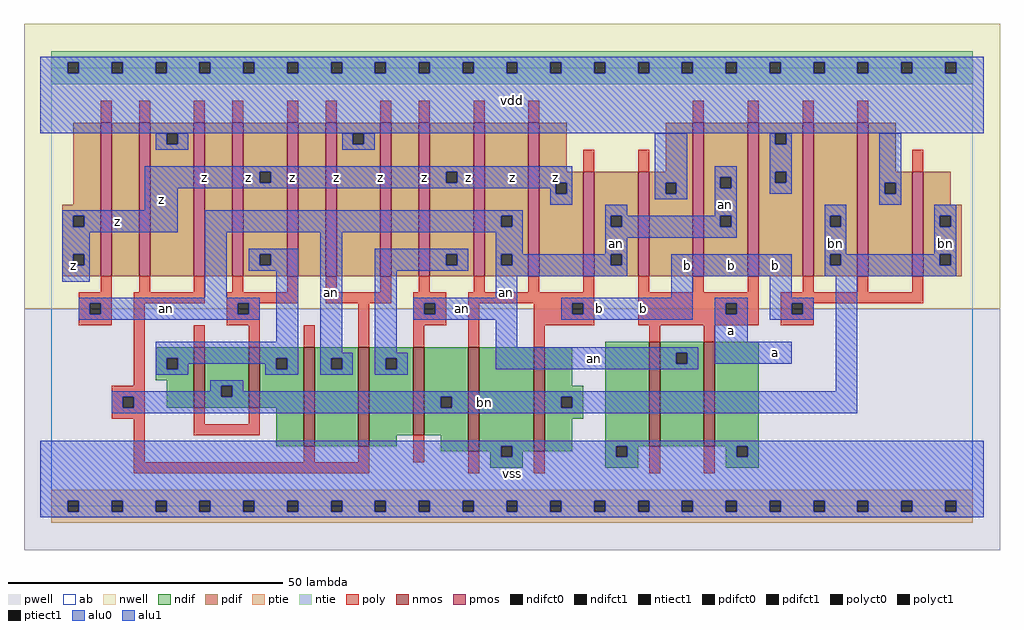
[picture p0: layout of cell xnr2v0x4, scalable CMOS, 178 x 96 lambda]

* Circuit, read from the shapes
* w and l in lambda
.subckt xnr2v0x4 a an b bn vdd vss z
M1 bn an z vss nfet w=11 l=2 m=2
M2 an bn z vss nfet w=18 l=2 m=2
M3 bn an z vss nfet w=16 l=2
M4 vss b bn vss nfet w=19 l=2 m=2
M5 an a vss vss nfet w=19 l=2 m=2
M6 n1 an z vdd pfet w=28 l=2
M7 vdd bn n1 vdd pfet w=28 l=2
M8 n2 bn vdd vdd pfet w=28 l=2
M9 z an n2 vdd pfet w=28 l=2
M10 n3 an z vdd pfet w=28 l=2
M11 vdd bn n3 vdd pfet w=28 l=2
M12 n4 bn vdd vdd pfet w=28 l=2
M13 z an n4 vdd pfet w=28 l=2
M14 an b z vdd pfet w=28 l=2 m=2
M15 an b z vdd pfet w=19 l=2
M16 vdd a an vdd pfet w=19 l=2
M17 an a vdd vdd pfet w=28 l=2 m=2
M18 bn b vdd vdd pfet w=28 l=2 m=2
M19 bn b vdd vdd pfet w=19 l=2
.ends

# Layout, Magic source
magic
tech scmos
<< ab >>
rect 0 0 168 80
<< nwell >>
rect -5 36 173 88
<< pwell >>
rect -5 -8 173 36
<< poly >>
rect 9 70 11 74
rect 16 70 18 74
rect 26 70 28 74
rect 33 70 35 74
rect 43 70 45 74
rect 50 70 52 74
rect 60 70 62 74
rect 67 70 69 74
rect 77 70 79 74
rect 87 70 89 74
rect 117 70 119 74
rect 127 70 129 74
rect 137 70 139 74
rect 147 70 149 74
rect 97 61 99 65
rect 107 61 109 65
rect 157 61 159 65
rect 9 39 11 42
rect 16 39 18 42
rect 26 39 28 42
rect 33 39 35 42
rect 43 39 45 42
rect 5 37 11 39
rect 5 35 7 37
rect 9 35 11 37
rect 5 33 11 35
rect 15 37 28 39
rect 32 37 45 39
rect 50 39 52 42
rect 60 39 62 42
rect 67 39 69 42
rect 77 39 79 42
rect 87 39 89 42
rect 97 39 99 42
rect 50 37 62 39
rect 66 37 72 39
rect 15 22 17 37
rect 32 35 34 37
rect 36 35 38 37
rect 32 33 38 35
rect 26 29 28 33
rect 36 29 38 33
rect 46 29 48 33
rect 56 29 58 37
rect 66 35 68 37
rect 70 35 72 37
rect 66 33 72 35
rect 76 37 99 39
rect 66 29 68 33
rect 76 29 78 37
rect 88 35 95 37
rect 97 35 99 37
rect 88 33 99 35
rect 107 39 109 42
rect 117 39 119 42
rect 127 39 129 42
rect 137 39 139 42
rect 147 39 149 42
rect 157 39 159 42
rect 107 37 129 39
rect 107 35 123 37
rect 125 35 129 37
rect 107 33 129 35
rect 133 37 159 39
rect 133 35 135 37
rect 137 35 139 37
rect 133 33 139 35
rect 88 29 90 33
rect 109 30 111 33
rect 119 30 121 33
rect 11 20 17 22
rect 11 18 13 20
rect 15 18 17 20
rect 11 16 17 18
rect 15 8 17 16
rect 26 15 28 18
rect 36 15 38 18
rect 26 13 38 15
rect 46 8 48 11
rect 56 8 58 11
rect 66 8 68 13
rect 15 6 58 8
rect 76 6 78 10
rect 88 6 90 10
rect 109 6 111 11
rect 119 6 121 11
<< ndif >>
rect 19 27 26 29
rect 19 25 21 27
rect 23 25 26 27
rect 19 23 26 25
rect 21 18 26 23
rect 28 22 36 29
rect 28 20 31 22
rect 33 20 36 22
rect 28 18 36 20
rect 38 27 46 29
rect 38 25 41 27
rect 43 25 46 27
rect 38 18 46 25
rect 41 11 46 18
rect 48 27 56 29
rect 48 25 51 27
rect 53 25 56 27
rect 48 11 56 25
rect 58 27 66 29
rect 58 25 61 27
rect 63 25 66 27
rect 58 13 66 25
rect 68 20 76 29
rect 68 18 71 20
rect 73 18 76 20
rect 68 13 76 18
rect 58 11 63 13
rect 71 10 76 13
rect 78 11 88 29
rect 78 10 82 11
rect 80 9 82 10
rect 84 10 88 11
rect 90 22 95 29
rect 90 20 97 22
rect 90 18 93 20
rect 95 18 97 20
rect 90 16 97 18
rect 90 10 95 16
rect 101 11 109 30
rect 111 28 119 30
rect 111 26 114 28
rect 116 26 119 28
rect 111 11 119 26
rect 121 11 129 30
rect 84 9 86 10
rect 80 7 86 9
rect 101 9 103 11
rect 105 9 107 11
rect 101 7 107 9
rect 123 9 125 11
rect 127 9 129 11
rect 123 7 129 9
<< pdif >>
rect 4 55 9 70
rect 2 53 9 55
rect 2 51 4 53
rect 6 51 9 53
rect 2 46 9 51
rect 2 44 4 46
rect 6 44 9 46
rect 2 42 9 44
rect 11 42 16 70
rect 18 68 26 70
rect 18 66 21 68
rect 23 66 26 68
rect 18 42 26 66
rect 28 42 33 70
rect 35 61 43 70
rect 35 59 38 61
rect 40 59 43 61
rect 35 46 43 59
rect 35 44 38 46
rect 40 44 43 46
rect 35 42 43 44
rect 45 42 50 70
rect 52 68 60 70
rect 52 66 55 68
rect 57 66 60 68
rect 52 42 60 66
rect 62 42 67 70
rect 69 61 77 70
rect 69 59 72 61
rect 74 59 77 61
rect 69 46 77 59
rect 69 44 72 46
rect 74 44 77 46
rect 69 42 77 44
rect 79 53 87 70
rect 79 51 82 53
rect 84 51 87 53
rect 79 46 87 51
rect 79 44 82 46
rect 84 44 87 46
rect 79 42 87 44
rect 89 61 94 70
rect 112 61 117 70
rect 89 59 97 61
rect 89 57 92 59
rect 94 57 97 59
rect 89 42 97 57
rect 99 53 107 61
rect 99 51 102 53
rect 104 51 107 53
rect 99 46 107 51
rect 99 44 102 46
rect 104 44 107 46
rect 99 42 107 44
rect 109 59 117 61
rect 109 57 112 59
rect 114 57 117 59
rect 109 42 117 57
rect 119 60 127 70
rect 119 58 122 60
rect 124 58 127 60
rect 119 53 127 58
rect 119 51 122 53
rect 124 51 127 53
rect 119 42 127 51
rect 129 68 137 70
rect 129 66 132 68
rect 134 66 137 68
rect 129 61 137 66
rect 129 59 132 61
rect 134 59 137 61
rect 129 42 137 59
rect 139 53 147 70
rect 139 51 142 53
rect 144 51 147 53
rect 139 46 147 51
rect 139 44 142 46
rect 144 44 147 46
rect 139 42 147 44
rect 149 61 154 70
rect 149 59 157 61
rect 149 57 152 59
rect 154 57 157 59
rect 149 42 157 57
rect 159 55 164 61
rect 159 53 166 55
rect 159 51 162 53
rect 164 51 166 53
rect 159 46 166 51
rect 159 44 162 46
rect 164 44 166 46
rect 159 42 166 44
<< alu1 >>
rect -2 81 170 82
rect -2 79 3 81
rect 5 79 11 81
rect 13 79 19 81
rect 21 79 27 81
rect 29 79 35 81
rect 37 79 43 81
rect 45 79 51 81
rect 53 79 59 81
rect 61 79 67 81
rect 69 79 75 81
rect 77 79 83 81
rect 85 79 91 81
rect 93 79 99 81
rect 101 79 107 81
rect 109 79 115 81
rect 117 79 123 81
rect 125 79 131 81
rect 133 79 139 81
rect 141 79 147 81
rect 149 79 155 81
rect 157 79 163 81
rect 165 79 170 81
rect -2 68 170 79
rect 17 61 95 62
rect 17 59 38 61
rect 40 59 72 61
rect 74 59 95 61
rect 17 58 92 59
rect 17 54 23 58
rect 91 57 92 58
rect 94 57 95 59
rect 91 55 95 57
rect 2 53 23 54
rect 2 51 4 53
rect 6 51 23 53
rect 2 50 23 51
rect 2 46 7 50
rect 2 44 4 46
rect 6 44 7 46
rect 2 41 7 44
rect 113 42 135 46
rect 113 38 117 42
rect 131 38 135 42
rect 93 37 117 38
rect 93 35 95 37
rect 97 35 117 37
rect 93 34 117 35
rect 121 37 127 38
rect 121 35 123 37
rect 125 35 127 37
rect 121 30 127 35
rect 131 37 139 38
rect 131 35 135 37
rect 137 35 139 37
rect 131 34 139 35
rect 121 26 135 30
rect -2 11 170 12
rect -2 9 82 11
rect 84 9 103 11
rect 105 9 125 11
rect 127 9 170 11
rect -2 1 170 9
rect -2 -1 3 1
rect 5 -1 11 1
rect 13 -1 19 1
rect 21 -1 27 1
rect 29 -1 35 1
rect 37 -1 43 1
rect 45 -1 51 1
rect 53 -1 59 1
rect 61 -1 67 1
rect 69 -1 75 1
rect 77 -1 83 1
rect 85 -1 91 1
rect 93 -1 99 1
rect 101 -1 107 1
rect 109 -1 115 1
rect 117 -1 123 1
rect 125 -1 131 1
rect 133 -1 139 1
rect 141 -1 147 1
rect 149 -1 155 1
rect 157 -1 163 1
rect 165 -1 170 1
rect -2 -2 170 -1
<< ptie >>
rect 0 1 168 3
rect 0 -1 3 1
rect 5 -1 11 1
rect 13 -1 19 1
rect 21 -1 27 1
rect 29 -1 35 1
rect 37 -1 43 1
rect 45 -1 51 1
rect 53 -1 59 1
rect 61 -1 67 1
rect 69 -1 75 1
rect 77 -1 83 1
rect 85 -1 91 1
rect 93 -1 99 1
rect 101 -1 107 1
rect 109 -1 115 1
rect 117 -1 123 1
rect 125 -1 131 1
rect 133 -1 139 1
rect 141 -1 147 1
rect 149 -1 155 1
rect 157 -1 163 1
rect 165 -1 168 1
rect 0 -3 168 -1
<< ntie >>
rect 0 81 168 83
rect 0 79 3 81
rect 5 79 11 81
rect 13 79 19 81
rect 21 79 27 81
rect 29 79 35 81
rect 37 79 43 81
rect 45 79 51 81
rect 53 79 59 81
rect 61 79 67 81
rect 69 79 75 81
rect 77 79 83 81
rect 85 79 91 81
rect 93 79 99 81
rect 101 79 107 81
rect 109 79 115 81
rect 117 79 123 81
rect 125 79 131 81
rect 133 79 139 81
rect 141 79 147 81
rect 149 79 155 81
rect 157 79 163 81
rect 165 79 168 81
rect 0 77 168 79
<< nmos >>
rect 26 18 28 29
rect 36 18 38 29
rect 46 11 48 29
rect 56 11 58 29
rect 66 13 68 29
rect 76 10 78 29
rect 88 10 90 29
rect 109 11 111 30
rect 119 11 121 30
<< pmos >>
rect 9 42 11 70
rect 16 42 18 70
rect 26 42 28 70
rect 33 42 35 70
rect 43 42 45 70
rect 50 42 52 70
rect 60 42 62 70
rect 67 42 69 70
rect 77 42 79 70
rect 87 42 89 70
rect 97 42 99 61
rect 107 42 109 61
rect 117 42 119 70
rect 127 42 129 70
rect 137 42 139 70
rect 147 42 149 70
rect 157 42 159 61
<< polyct0 >>
rect 7 35 9 37
rect 34 35 36 37
rect 68 35 70 37
rect 13 18 15 20
<< polyct1 >>
rect 95 35 97 37
rect 123 35 125 37
rect 135 35 137 37
<< ndifct0 >>
rect 21 25 23 27
rect 31 20 33 22
rect 41 25 43 27
rect 51 25 53 27
rect 61 25 63 27
rect 71 18 73 20
rect 93 18 95 20
rect 114 26 116 28
<< ndifct1 >>
rect 82 9 84 11
rect 103 9 105 11
rect 125 9 127 11
<< ntiect1 >>
rect 3 79 5 81
rect 11 79 13 81
rect 19 79 21 81
rect 27 79 29 81
rect 35 79 37 81
rect 43 79 45 81
rect 51 79 53 81
rect 59 79 61 81
rect 67 79 69 81
rect 75 79 77 81
rect 83 79 85 81
rect 91 79 93 81
rect 99 79 101 81
rect 107 79 109 81
rect 115 79 117 81
rect 123 79 125 81
rect 131 79 133 81
rect 139 79 141 81
rect 147 79 149 81
rect 155 79 157 81
rect 163 79 165 81
<< ptiect1 >>
rect 3 -1 5 1
rect 11 -1 13 1
rect 19 -1 21 1
rect 27 -1 29 1
rect 35 -1 37 1
rect 43 -1 45 1
rect 51 -1 53 1
rect 59 -1 61 1
rect 67 -1 69 1
rect 75 -1 77 1
rect 83 -1 85 1
rect 91 -1 93 1
rect 99 -1 101 1
rect 107 -1 109 1
rect 115 -1 117 1
rect 123 -1 125 1
rect 131 -1 133 1
rect 139 -1 141 1
rect 147 -1 149 1
rect 155 -1 157 1
rect 163 -1 165 1
<< pdifct0 >>
rect 21 66 23 68
rect 38 44 40 46
rect 55 66 57 68
rect 72 44 74 46
rect 82 51 84 53
rect 82 44 84 46
rect 102 51 104 53
rect 102 44 104 46
rect 112 57 114 59
rect 122 58 124 60
rect 122 51 124 53
rect 132 66 134 68
rect 132 59 134 61
rect 142 51 144 53
rect 142 44 144 46
rect 152 57 154 59
rect 162 51 164 53
rect 162 44 164 46
<< pdifct1 >>
rect 4 51 6 53
rect 4 44 6 46
rect 38 59 40 61
rect 72 59 74 61
rect 92 57 94 59
<< alu0 >>
rect 19 66 21 68
rect 23 66 25 68
rect 19 65 25 66
rect 53 66 55 68
rect 57 66 59 68
rect 53 65 59 66
rect 110 59 116 68
rect 131 66 132 68
rect 134 66 135 68
rect 110 57 112 59
rect 114 57 116 59
rect 110 56 116 57
rect 121 60 125 62
rect 121 58 122 60
rect 124 58 125 60
rect 28 53 86 54
rect 28 51 82 53
rect 84 51 86 53
rect 28 50 86 51
rect 28 38 32 50
rect 36 46 45 47
rect 36 44 38 46
rect 40 44 45 46
rect 36 43 45 44
rect 5 37 38 38
rect 5 35 7 37
rect 9 35 34 37
rect 36 35 38 37
rect 5 34 38 35
rect 41 30 45 43
rect 19 27 45 30
rect 19 25 21 27
rect 23 26 41 27
rect 23 25 25 26
rect 19 24 25 25
rect 39 25 41 26
rect 43 25 45 27
rect 39 24 45 25
rect 49 28 53 50
rect 59 46 76 47
rect 59 44 72 46
rect 74 44 76 46
rect 59 43 76 44
rect 81 46 86 50
rect 101 53 105 55
rect 121 53 125 58
rect 131 61 135 66
rect 131 59 132 61
rect 134 59 135 61
rect 131 57 135 59
rect 151 59 155 68
rect 151 57 152 59
rect 154 57 155 59
rect 151 55 155 57
rect 101 51 102 53
rect 104 51 122 53
rect 124 51 125 53
rect 101 49 125 51
rect 141 53 145 55
rect 141 51 142 53
rect 144 51 145 53
rect 101 46 105 49
rect 141 46 145 51
rect 161 53 165 55
rect 161 51 162 53
rect 164 51 165 53
rect 161 46 165 51
rect 81 44 82 46
rect 84 44 102 46
rect 104 44 105 46
rect 59 28 63 43
rect 81 42 105 44
rect 141 44 142 46
rect 144 44 162 46
rect 164 44 165 46
rect 141 42 165 44
rect 81 38 85 42
rect 66 37 85 38
rect 66 35 68 37
rect 70 35 85 37
rect 66 34 85 35
rect 81 29 85 34
rect 81 28 118 29
rect 49 27 55 28
rect 49 25 51 27
rect 53 25 55 27
rect 49 24 55 25
rect 59 27 65 28
rect 59 25 61 27
rect 63 25 65 27
rect 81 26 114 28
rect 116 26 118 28
rect 81 25 118 26
rect 59 24 65 25
rect 29 22 35 23
rect 29 21 31 22
rect 11 20 31 21
rect 33 21 35 22
rect 143 21 147 42
rect 33 20 147 21
rect 11 18 13 20
rect 15 18 71 20
rect 73 18 93 20
rect 95 18 147 20
rect 11 17 147 18
<< labels >>
rlabel alu0 21 36 21 36 6 an
rlabel alu0 51 39 51 39 6 an
rlabel alu0 75 36 75 36 6 an
rlabel alu0 83 39 83 39 6 an
rlabel alu0 99 27 99 27 6 an
rlabel alu0 123 55 123 55 6 an
rlabel alu0 103 48 103 48 6 an
rlabel alu0 79 19 79 19 6 bn
rlabel alu0 163 48 163 48 6 bn
rlabel alu0 143 48 143 48 6 bn
rlabel alu1 4 44 4 44 6 z
rlabel alu1 20 56 20 56 6 z
rlabel alu1 12 52 12 52 6 z
rlabel alu1 28 60 28 60 6 z
rlabel alu1 36 60 36 60 6 z
rlabel alu1 52 60 52 60 6 z
rlabel alu1 60 60 60 60 6 z
rlabel alu1 68 60 68 60 6 z
rlabel alu1 76 60 76 60 6 z
rlabel alu1 44 60 44 60 6 z
rlabel alu1 84 6 84 6 6 vss
rlabel alu1 108 36 108 36 6 b
rlabel alu1 100 36 100 36 6 b
rlabel alu1 124 32 124 32 6 a
rlabel alu1 116 44 116 44 6 b
rlabel alu1 124 44 124 44 6 b
rlabel alu1 92 60 92 60 6 z
rlabel alu1 84 60 84 60 6 z
rlabel alu1 84 74 84 74 6 vdd
rlabel alu1 132 28 132 28 6 a
rlabel alu1 132 44 132 44 6 b
<< end >>
